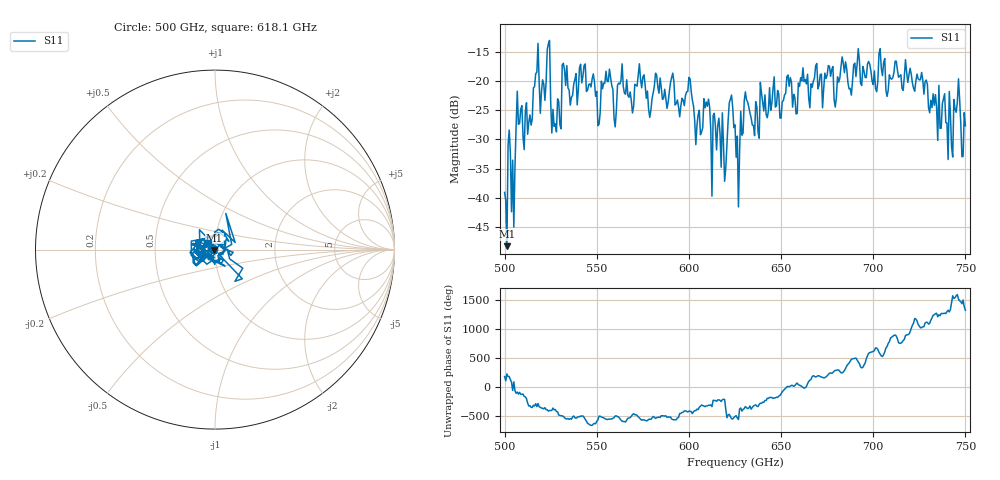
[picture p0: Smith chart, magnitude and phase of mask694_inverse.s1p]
!Created with skrf (http://scikit-rf.org).
# GHz S MA R 50.0
!freq magS11 angS11
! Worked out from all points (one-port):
!   401 points, 500 GHz to 750 GHz, reference 50 ohm
!   lowest |S11| = -48.3 dB at 501.2 GHz (marker M1), VSWR 1.01, Z = 49.7 - j0.255 ohm
!   |S11| at or under -10 dB: start of sweep to end of sweep
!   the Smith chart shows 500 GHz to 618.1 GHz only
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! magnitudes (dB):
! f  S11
! 500 GHz  -39.1
! 501.2 GHz  -48.3
! 505 GHz  -45.0
! 508.1 GHz  -27.3
! 513.8 GHz  -25.8
! 516.9 GHz  -18.8
! 520.6 GHz  -19.8
! 523.8 GHz  -13.6
! 526.9 GHz  -27.8
! 531.2 GHz  -17.3
! 542.5 GHz  -19.1
! 550.6 GHz  -27.6
! 562.5 GHz  -20.5
! 593.8 GHz  -23.3
! 609.4 GHz  -23.6
! 618.8 GHz  -30.8
! 622.5 GHz  -23.1
! 625 GHz  -27.5
! 626.2 GHz  -29.4
! 631.2 GHz  -23.2
! 636.9 GHz  -24.4
! 656.2 GHz  -24.5
! 676.9 GHz  -19.2
! 680 GHz  -22.8
! 683.8 GHz  -16.9
! 687.5 GHz  -21.3
! 718.8 GHz  -20.2
! 750 GHz  -27.7
